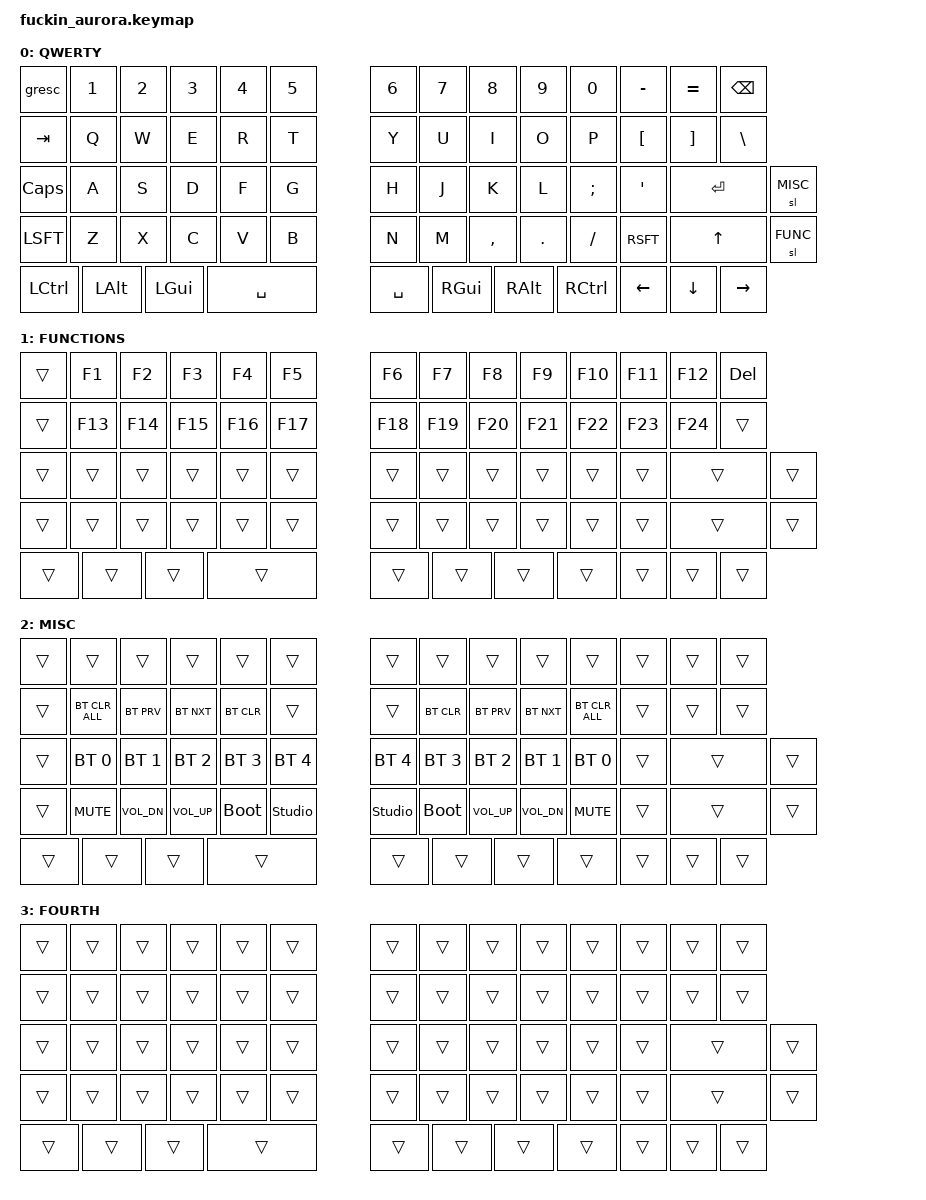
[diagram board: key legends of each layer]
/*
 * Copyright (c) 2024 The ZMK Contributors
 *
 * SPDX-License-Identifier: MIT
 */

#include <behaviors.dtsi>
#include <dt-bindings/zmk/bt.h>
#include <dt-bindings/zmk/keys.h>
#include <dt-bindings/zmk/outputs.h> // Not needed?
#include <dt-bindings/zmk/reset.h> // Added for bootloader

// Layer Definitions
#define DEFAULT 0
#define FUNC    1
#define MISC    2
#define FOURTH  3

/ {
    keymap {
        compatible = "zmk,keymap";

        default_layer {
            label = "QWERTY";
            bindings = <
                &gresc   &kp N1     &kp N2     &kp N3     &kp N4    &kp N5                                       &kp N6     &kp N7     &kp N8     &kp N9    &kp N0      &kp MINUS  &kp EQUAL  &kp BSPC
                &kp TAB  &kp Q      &kp W      &kp E      &kp R     &kp T                                        &kp Y      &kp U      &kp I      &kp O     &kp P       &kp LBKT   &kp RBKT   &kp BSLH
                &kp CAPS &kp A      &kp S      &kp D      &kp F     &kp G                                        &kp H      &kp J      &kp K      &kp L     &kp SEMI    &kp APOS   &kp RET    &sl MISC
                &kp LSFT &kp Z      &kp X      &kp C      &kp V     &kp B                                        &kp N      &kp M      &kp COMMA  &kp DOT   &kp FSLH    &kp RSFT   &kp UP     &sl FUNC
                &kp LCTRL &kp LALT  &kp LGUI                        &kp SPACE                                    &kp SPACE             &kp RGUI   &kp RALT   &kp RCTRL &kp LEFT    &kp DOWN   &kp RIGHT
            >;
        };

        func_layer {
            label = "FUNCTIONS";
            bindings = <
                &trans   &kp F1     &kp F2     &kp F3     &kp F4    &kp F5                                       &kp F6     &kp F7     &kp F8     &kp F9    &kp F10     &kp F11    &kp F12    &kp DEL
                &trans   &kp F13    &kp F14    &kp F15    &kp F16   &kp F17                                      &kp F18    &kp F19    &kp F20    &kp F21   &kp F22     &kp F23    &kp F24    &trans
                &trans   &trans     &trans     &trans     &trans    &trans                                       &trans     &trans     &trans     &trans    &trans      &trans     &trans     &trans
                &trans   &trans     &trans     &trans     &trans    &trans                                       &trans     &trans     &trans     &trans    &trans      &trans     &trans     &trans
                &trans   &trans     &trans                          &trans                                       &trans                &trans     &trans    &trans      &trans     &trans     &trans
            >;
        };

        misc_layer {
            label = "MISC";
            bindings = <
                &trans   &trans         &trans         &trans         &trans         &trans                                       &trans         &trans         &trans         &trans         &trans         &trans     &trans     &trans
                &trans   &bt BT_CLR_ALL &bt BT_PRV     &bt BT_NXT     &bt BT_CLR     &trans                                       &trans         &bt BT_CLR     &bt BT_PRV     &bt BT_NXT     &bt BT_CLR_ALL &trans     &trans     &trans
                &trans   &bt BT_SEL 0   &bt BT_SEL 1   &bt BT_SEL 2   &bt BT_SEL 3   &bt BT_SEL 4                                 &bt BT_SEL 4   &bt BT_SEL 3   &bt BT_SEL 2   &bt BT_SEL 1   &bt BT_SEL 0   &trans     &trans     &trans
                &trans   &kp C_MUTE     &kp C_VOL_DN   &kp C_VOL_UP   &bootloader    &studio_unlock                               &studio_unlock &bootloader    &kp C_VOL_UP   &kp C_VOL_DN   &kp C_MUTE     &trans     &trans     &trans
                &trans   &trans         &trans                                       &trans                                       &trans                        &trans         &trans         &trans         &trans     &trans     &trans
            >;
        };

        fourth_layer {
            label = "FOURTH";
            bindings = <
                &trans   &trans     &trans     &trans     &trans    &trans                                       &trans     &trans     &trans     &trans    &trans      &trans     &trans     &trans
                &trans   &trans     &trans     &trans     &trans    &trans                                       &trans     &trans     &trans     &trans    &trans      &trans     &trans     &trans
                &trans   &trans     &trans     &trans     &trans    &trans                                       &trans     &trans     &trans     &trans    &trans      &trans     &trans     &trans
                &trans   &trans     &trans     &trans     &trans    &trans                                       &trans     &trans     &trans     &trans    &trans      &trans     &trans     &trans
                &trans   &trans     &trans                          &trans                                       &trans                &trans     &trans    &trans      &trans     &trans     &trans
            >;
        };
    };
};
